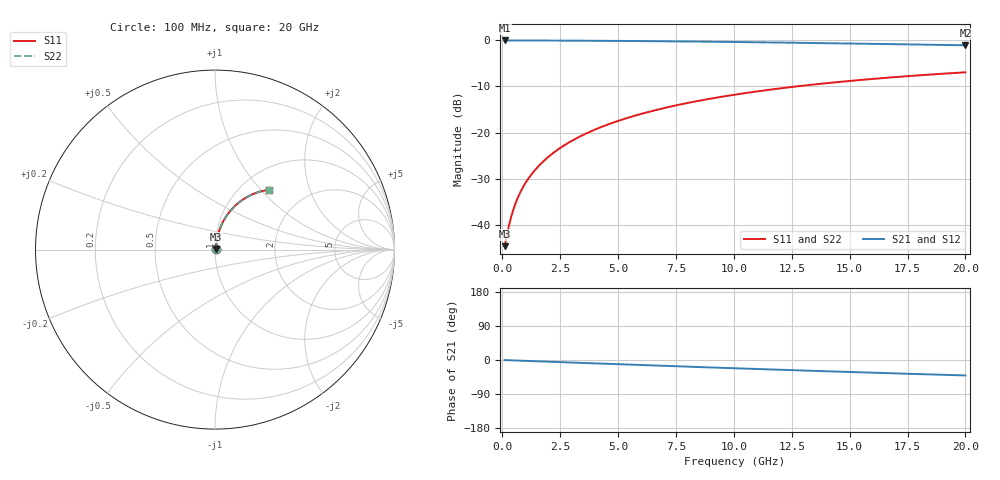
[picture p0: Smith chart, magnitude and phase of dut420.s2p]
! Touchstone file exported from HFSS 2026.1.0
!  File:  C:/ffzhzh/LocalFiles/Ansys_Project_Files/temp_train_BSMRDL_420_1783012714_55676.aedt
!  Generated:  01:19:57 AM Jul  3, 2026
!  Design:  BSMRDL
!  Project:  temp_train_BSMRDL_420_1783012714_55676
! Variables:
!  h_bsmrdl = 2.23um
!  h_ox = 20um
!  h_rdl = 5um
!  h_sub = 80um
!  h_tmrdl = 5um
!  h_tsv = 80um
!  h_via = 3um
!  l_bsmrdl = 523.42um
!  l_sub = 923.42um
!  l_tmrdl = 200um
!  m_sub = 200um
!  pitch = 51.58um
!  r_tsv = 6um
!  s_tmrdl = 10um
!  w_bsmrdl = 16.89um
!  w_sub = 500um
!  w_tmrdl = 12um
!  x_tsv_center1 = 206um
!  x_tsv_center2 = 746.31um
!  x_tsv_center3 = 958.31um
!  x_tsv_center4 = 1498.62um
!  x_tsv_center5 = 1710.62um
!  x_tsv_center6 = 2250.93um
# GHz S MA R 50.000000
! Terminal data exported
! Port[1] = BSM_RDL1_1_T1
! Port[2] = BSM_RDL1_1_T2
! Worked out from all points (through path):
!   200 points, 100 MHz to 20 GHz, reference 50 ohm
!   highest |S21| = -0.04 dB at 100 MHz (marker M1); lowest = -1.1 dB at 20 GHz (marker M2)
!   group delay of S21, straight-line fit = 5.68 ps
!   lowest |S11| = -44.6 dB at 100 MHz (marker M3), VSWR 1.01, Z = 50.5 + j0.29 ohm
!   |S11| at or under -10 dB: start of sweep to 12.7 GHz
!   |S22| runs from -44.6 to -6.9 dB; largest |S21 - S12| = 3.5e-15
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0.1  0.005895 29.2  0.9949 -0.2  0.9949 -0.2  0.005895 29.2
! Gamma 0 0 0 0
! Port Impedance 50 0 50 0
0.3  0.01012 57.7  0.9947 -0.7  0.9947 -0.7  0.01012 57.7
0.4  0.01265 63.7  0.9945 -0.9  0.9945 -0.9  0.01265 63.7
0.5  0.01525 67.6  0.9944 -1.2  0.9944 -1.2  0.01525 67.6
0.6  0.01788 70.2  0.9942 -1.4  0.9942 -1.4  0.01788 70.2
0.8  0.02316 73.5  0.9939 -1.8  0.9939 -1.8  0.02316 73.5
1.1  0.03108 76.2  0.9934 -2.5  0.9934 -2.5  0.03108 76.2
1.3  0.03637 77.2  0.9931 -2.9  0.9931 -2.9  0.03637 77.2
1.6  0.04431 78.1  0.9927 -3.6  0.9927 -3.6  0.04431 78.1
2.1  0.05757 78.8  0.9919 -4.7  0.9919 -4.7  0.05757 78.8
2.7  0.07349 78.8  0.9907 -6.0  0.9907 -6.0  0.07349 78.8
3.5  0.09465 78.1  0.9887 -7.8  0.9887 -7.8  0.09465 78.1
4.2  0.113 77.1  0.9867 -9.4  0.9867 -9.4  0.113 77.1
5  0.1339 75.8  0.9839 -11.1  0.9839 -11.1  0.1338 75.8
5.9  0.157 74.2  0.9803 -13.1  0.9803 -13.1  0.1569 74.2
6.8  0.1797 72.6  0.9761 -15.0  0.9761 -15.0  0.1797 72.6
8.3  0.2165 69.7  0.9682 -18.2  0.9682 -18.2  0.2165 69.7
10.1  0.2589 66.1  0.9573 -22.0  0.9573 -22.0  0.2589 66.2
11.7  0.2947 63.0  0.9465 -25.2  0.9465 -25.2  0.2947 63.0
13.4  0.3307 59.8  0.9342 -28.6  0.9342 -28.6  0.3307 59.8
16.7  0.3943 53.6  0.9086 -34.8  0.9086 -34.8  0.3943 53.7
20  0.4497 47.8  0.8822 -40.7  0.8822 -40.7  0.4496 47.9
